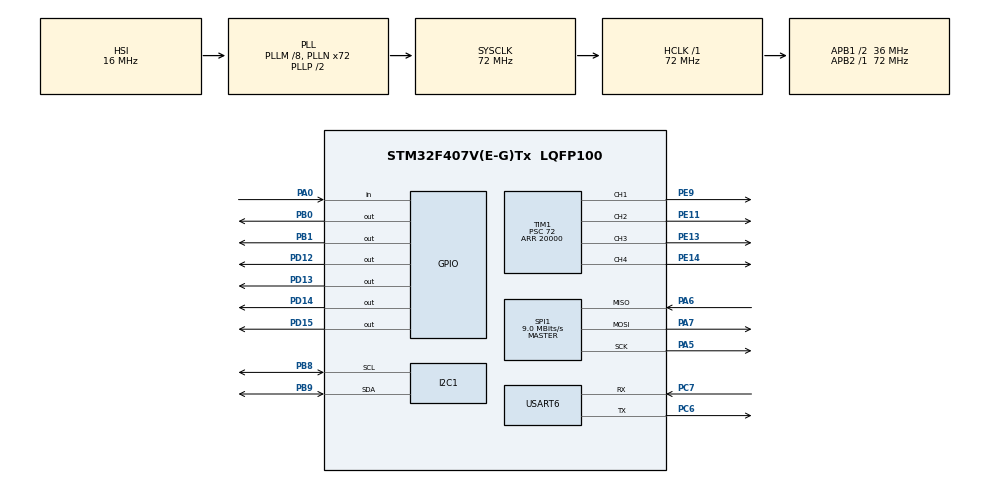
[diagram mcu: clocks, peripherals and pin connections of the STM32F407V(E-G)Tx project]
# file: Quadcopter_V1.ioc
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I2C1.I2C_Mode=I2C_Fast
Mcu.Family=STM32F4
Mcu.Name=STM32F407V(E-G)Tx
Mcu.Package=LQFP100
NVIC.PriorityGroup=NVIC_PRIORITYGROUP_4
NVIC.TIM2_IRQn=true\:0\:0\:false\:false\:true\:true\:true\:true
PA0-WKUP.Signal=GPIO_Input
PA13.Mode=Serial_Wire
PA13.Signal=SYS_JTMS-SWDIO
PA14.Mode=Serial_Wire
PA14.Signal=SYS_JTCK-SWCLK
PA5.Mode=Full_Duplex_Master
PA5.Signal=SPI1_SCK
PA6.Mode=Full_Duplex_Master
PA6.Signal=SPI1_MISO
PA7.Mode=Full_Duplex_Master
PA7.Signal=SPI1_MOSI
PB0.Signal=GPIO_Output
PB1.Signal=GPIO_Output
PB8.Mode=I2C
PB8.Signal=I2C1_SCL
PB9.Mode=I2C
PB9.Signal=I2C1_SDA
PC6.Mode=Asynchronous
PC6.Signal=USART6_TX
PC7.Mode=Asynchronous
PC7.Signal=USART6_RX
PD12.Signal=GPIO_Output
PD13.Signal=GPIO_Output
PD14.Signal=GPIO_Output
PD15.Signal=GPIO_Output
PE11.Signal=S_TIM1_CH2
PE13.Signal=S_TIM1_CH3
PE14.Signal=S_TIM1_CH4
PE9.Signal=S_TIM1_CH1
PH0-OSC_IN.Mode=HSE-External-Oscillator
PH0-OSC_IN.Signal=RCC_OSC_IN
PH1-OSC_OUT.Mode=HSE-External-Oscillator
PH1-OSC_OUT.Signal=RCC_OSC_OUT
ProjectManager.HeapSize=0x200
ProjectManager.StackSize=0x400
ProjectManager.TargetToolchain=STM32CubeIDE
RCC.48MHZClocksFreq_Value=36000000
RCC.AHBFreq_Value=72000000
RCC.APB1CLKDivider=RCC_HCLK_DIV2
RCC.APB1Freq_Value=36000000
RCC.APB1TimFreq_Value=72000000
RCC.APB2Freq_Value=72000000
RCC.APB2TimFreq_Value=72000000
RCC.CortexFreq_Value=72000000
RCC.HCLKFreq_Value=72000000
RCC.HSE_VALUE=25000000
RCC.HSI_VALUE=16000000
RCC.LSE_VALUE=32768
RCC.PLLM=8
RCC.PLLN=72
RCC.SYSCLKFreq_VALUE=72000000
RCC.SYSCLKSource=RCC_SYSCLKSOURCE_PLLCLK
RCC.VCOOutputFreq_Value=144000000
SH.S_TIM1_CH1.0=TIM1_CH1,PWM Generation1 CH1
SH.S_TIM1_CH2.0=TIM1_CH2,PWM Generation2 CH2
SH.S_TIM1_CH3.0=TIM1_CH3,PWM Generation3 CH3
SH.S_TIM1_CH4.0=TIM1_CH4,PWM Generation4 CH4
SPI1.BaudRatePrescaler=SPI_BAUDRATEPRESCALER_8
SPI1.CalculateBaudRate=9.0 MBits/s
SPI1.Direction=SPI_DIRECTION_2LINES
SPI1.Mode=SPI_MODE_MASTER
SPI1.VirtualType=VM_MASTER
TIM1.AutoReloadPreload=TIM_AUTORELOAD_PRELOAD_ENABLE
TIM1.Channel-PWM\ Generation1\ CH1=TIM_CHANNEL_1
TIM1.Channel-PWM\ Generation2\ CH2=TIM_CHANNEL_2
TIM1.Channel-PWM\ Generation3\ CH3=TIM_CHANNEL_3
TIM1.Channel-PWM\ Generation4\ CH4=TIM_CHANNEL_4
TIM1.Period=20000
TIM1.Prescaler=72
TIM1.Pulse-PWM\ Generation1\ CH1=800
TIM1.Pulse-PWM\ Generation2\ CH2=800
TIM1.Pulse-PWM\ Generation3\ CH3=800
TIM1.Pulse-PWM\ Generation4\ CH4=800
TIM2.Period=72000000
TIM2.Prescaler=0
USART6.VirtualMode=VM_ASYNC
VP_TIM1_VS_ClockSourceINT.Mode=Internal
VP_TIM2_VS_ClockSourceINT.Mode=Internal
board=custom

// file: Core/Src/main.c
/* USER CODE BEGIN Header */
/**
 ******************************************************************************
 * @file           : main.c
 * @brief          : Main program body
 ******************************************************************************
 * @attention
 *
 * Copyright (c) 2023 STMicroelectronics.
 * All rights reserved.
 *
 * This software is licensed under terms that can be found in the LICENSE file
 * in the root directory of this software component.
 * If no LICENSE file comes with this software, it is provided AS-IS.
 *
 ******************************************************************************
 */
/* USER CODE END Header */
#include "main.h"
#include "i2c.h"
#include "spi.h"
#include "tim.h"
#include "usart.h"
#include "gpio.h"

/* USER CODE BEGIN Includes */
#include "define.h"
#include "TD_GY86.h"
#include "TD_Madgwick.h"
#include "TD_Brushless.h"
#include "TD_LQR.h"
#include "TD_RF24L01.h"
#include "TD_Lowpass.h"
#include "TD_SMC.h"

/* USER CODE END Includes */

/* USER CODE BEGIN PV */

// Sensor
MPU6050_t MPU6050;
MPU6050_t MPU6050_LP;
// Angle
Euler_t angle;
Euler_t Madgwick;
Euler_t Madgwick_new;
Euler_t Setpoint;
Euler_t Setpoint_pre;
Euler_t Setpoint_dot;
Euler_t Offset = {
    .roll = 0.0129,
    .pitch = 0.0875,
    .yaw = 0,
};
// Quaternions
Quaternion_t Q_est = {1, 0, 0, 0};
// Brushless
Motor_t M1 = {
    .Duty = 0,
    .Duty_base = 1100,
    .Duty_min = 800,
    .Duty_max = 2000,
};
Motor_t M2 = {
    .Duty = 0,
    .Duty_base = 1100,
    .Duty_min = 800,
    .Duty_max = 2000,
};
Motor_t M3 = {
    .Duty = 0,
    .Duty_base = 1100,
    .Duty_min = 800,
    .Duty_max = 2000,
};
Motor_t M4 = {
    .Duty = 0,
    .Duty_base = 1100,
    .Duty_min = 800,
    .Duty_max = 2000,
};
// RF24
Data_t data_Tx;
Data_t data_Rx;
uint64_t TxpipeAddrs = 0xAABBCCDDEE;
uint64_t RxpipeAddrs = 0x1122334455;
// LQR
const float a = 6.3246;
const float b = 2.4522;
double x[6];
double K[4][6] = {{0, 0, 0, 0, 0, 0}, {a, 0, 0, b, 0, 0}, {0, a, 0, 0, b, 0}, {0, 0, 0, 0, 0, 0}};
double u[4];
double T1, T2, T3, T4;
// Enable Run
int enable = 0;
int state = 0;
int run = 0;
uint64_t time;
uint64_t time_pre;
double i_e_roll = 0;
double i_e_pitch = 0;
double Ki = 5;
double LimitI = 0.5;
double aa = 0;
double outI_roll = 0;
double outF_roll = 0;
double outI_pitch = 0;
double outF_pitch = 0;
double m = 0;
double gama = 1.4;
/* USER CODE END PV */

void SystemClock_Config(void);

int main(void)
{

  /* MCU Configuration--------------------------------------------------------*/

  /* Reset of all peripherals, Initializes the Flash interface and the Systick. */
  HAL_Init();

  /* Configure the system clock */
  SystemClock_Config();

  /* Initialize all configured peripherals */
  MX_GPIO_Init();
  MX_I2C1_Init();
  MX_SPI1_Init();
  MX_TIM1_Init();
  MX_TIM2_Init();
  MX_USART6_UART_Init();
  /* USER CODE BEGIN 2 */
  /**
   * Sends data using the NRF24L01.
   *
   * @param huart6 The UART handle.
   * @param GPIOB The GPIO port used for the NRF24L01.
   * @param nrf_CSN_PIN The chip select pin for the NRF24L01.
   * @param nrf_CE_PIN The chip enable pin for the NRF24L01.
   * @param hspi1 The SPI handle.
   * @param TxpipeAddrs The address of the transmitting pipe.
   */
  // Begin setup Rf24
  NRF24_begin(GPIOB, nrf_CSN_PIN, nrf_CE_PIN, hspi1);
  NRF24_stopListening();
  NRF24_openWritingPipe(TxpipeAddrs);
  NRF24_setAutoAck(true);
  NRF24_enableDynamicPayloads();
  NRF24_enableAckPayload();
  /**
   * Initializes the MPU6050 and HMC5883L sensors, and the MS5611 barometer.
   *
   * @param hi2c1 The I2C handle for communication with the sensors.
   */
  // Begin setup GY86
  while (MPU6050_Init(&hi2c1) == 1);
  MPU6050_Bypass(&hi2c1);
  HMC5883L_Init(&hi2c1);
  MPU6050_Master(&hi2c1);
  MPU6050_Addslave(&hi2c1);
  /**
   * Sets up the ESC (Electronic Speed Controller) for a motor using the specified timer.
   *
   * @param htim1 The timer used for the ESC.
   */
  // Begin setup ESC
  setupESC(&htim1);
  /**
   * Starts the timer interrupt for TIM2.
   *
   * @param htim2 A pointer to the TIM2 handle.
   * Simple time is 2ms
   */
  // RUN
  HAL_TIM_Base_Start_IT(&htim2);
  /* USER CODE END 2 */

  /* Infinite loop */
  /* USER CODE BEGIN WHILE */
  while (1)
  {
    /**
     * Sends sensor data over NRF24L01 radio module.
     * The data is sent every 20ms.
     * If there is no response from the receiver for 1 second, the enable flag is set to 0.
     */
    if (HAL_GetTick() - time_pre >= 20)
    {
      // Pack Data_Tx
      data_Tx.a = Madgwick.roll;
      data_Tx.b = Madgwick.pitch;
      data_Tx.c = Madgwick.yaw;
      data_Tx.d = enable;
      // Send
      if (NRF24_write(&data_Tx, 32))
      {
        HAL_GPIO_TogglePin(GPIOD, GPIO_PIN_13); // LED signal receiving RF24
        // Receive
        NRF24_read(&data_Rx, 32);
        // Unpack Data_Rx
        Setpoint.roll = data_Rx.a;
        Setpoint.pitch = data_Rx.b;
        Setpoint.yaw = data_Rx.c;
        enable = data_Rx.d;
        time_pre = HAL_GetTick();
      }
    }
    if (HAL_GetTick() - time_pre > 1000) // If the control signal is lost after 1s, turn off the power
      enable = 0;
    // chạy tăng tốc 1s trước khi chạy điều khiển
    if (enable == 1 && state == 0)
    {
      run = 2;
      time = HAL_GetTick();
    }
    if (enable == 0)
      run = 0;
    if (run == 2)
    {
      if (HAL_GetTick() - time > 1000)
        run = 1;
    }
    gama = (Madgwick.roll/1.57 + 0.7853)*0.52+1.35;

    /* USER CODE END WHILE */

  }
}

void SystemClock_Config(void)
{
  RCC_OscInitTypeDef RCC_OscInitStruct = {0};
  RCC_ClkInitTypeDef RCC_ClkInitStruct = {0};

  /** Configure the main internal regulator output voltage
   */
  __HAL_RCC_PWR_CLK_ENABLE();
  __HAL_PWR_VOLTAGESCALING_CONFIG(PWR_REGULATOR_VOLTAGE_SCALE1);

  /** Initializes the RCC Oscillators according to the specified parameters
   * in the RCC_OscInitTypeDef structure.
   */
  RCC_OscInitStruct.OscillatorType = RCC_OSCILLATORTYPE_HSI;
  RCC_OscInitStruct.HSIState = RCC_HSI_ON;
  RCC_OscInitStruct.HSICalibrationValue = RCC_HSICALIBRATION_DEFAULT;
  RCC_OscInitStruct.PLL.PLLState = RCC_PLL_ON;
  RCC_OscInitStruct.PLL.PLLSource = RCC_PLLSOURCE_HSI;
  RCC_OscInitStruct.PLL.PLLM = 8;
  RCC_OscInitStruct.PLL.PLLN = 72;
  RCC_OscInitStruct.PLL.PLLP = RCC_PLLP_DIV2;
  RCC_OscInitStruct.PLL.PLLQ = 4;
  if (HAL_RCC_OscConfig(&RCC_OscInitStruct) != HAL_OK)
  {
    Error_Handler();
  }

  /** Initializes the CPU, AHB and APB buses clocks
   */
  RCC_ClkInitStruct.ClockType = RCC_CLOCKTYPE_HCLK | RCC_CLOCKTYPE_SYSCLK | RCC_CLOCKTYPE_PCLK1 | RCC_CLOCKTYPE_PCLK2;
  RCC_ClkInitStruct.SYSCLKSource = RCC_SYSCLKSOURCE_PLLCLK;
  RCC_ClkInitStruct.AHBCLKDivider = RCC_SYSCLK_DIV1;
  RCC_ClkInitStruct.APB1CLKDivider = RCC_HCLK_DIV2;
  RCC_ClkInitStruct.APB2CLKDivider = RCC_HCLK_DIV1;

  if (HAL_RCC_ClockConfig(&RCC_ClkInitStruct, FLASH_LATENCY_2) != HAL_OK)
  {
    Error_Handler();
  }
}

/* USER CODE BEGIN 4 */
void quaternion_to_euler(Quaternion_t q, Euler_t *angles)
{
	// Calculate Euler angles
	double sinr_cosp = 2.0 * (q.q4 * q.q1 + q.q2 * q.q3);
	double cosr_cosp = 1.0 - 2.0 * (q.q1 * q.q1 + q.q2 * q.q2);
	angles->roll = atan2(sinr_cosp, cosr_cosp);

	double sinp = 2.0 * (q.q4 * q.q2 - q.q3 * q.q1);
	if (fabs(sinp) >= 1.0) {
	    angles->pitch = copysign(M_PI / 2.0, sinp);
	} else {
	    angles->pitch = asin(sinp);
	}

	double siny_cosp = 2.0 * (q.q4 * q.q3 + q.q1 * q.q2);
	double cosy_cosp = 1.0 - 2.0 * (q.q2 * q.q2 + q.q3 * q.q3);
	angles->yaw = atan2(siny_cosp, cosy_cosp);
}
// 2. Bo dieu khien LQR
void LQR_Control()
{
  /**
   * Computes the control signals for a quadcopter based on the difference between the setpoint and the current orientation.
   * The control signals are then used to adjust the duty cycle of the motors to achieve the desired orientation.
   */
  // r()
  x[0] = Setpoint.roll - Madgwick.roll;
  x[1] = Setpoint.pitch - Madgwick.pitch;
  x[2] = 0;
  x[3] = Setpoint_dot.roll - MPU6050.Gx;
  x[4] = Setpoint_dot.pitch - MPU6050.Gy;
  x[5] = 0;
  // Tích phân khâu I để bù trừ phần chưa kiểm soát
  if (run == 1)
  {
    i_e_roll += x[0];
    i_e_pitch += x[1];
  }
  else
  {
    i_e_roll = 0;
    i_e_pitch = 0;
  }
  if (Setpoint.roll != Setpoint_pre.roll)
  {
    i_e_roll = 0;
    i_e_pitch = 0;
    Setpoint_pre = Setpoint;
  }
  //
  aa = LimitI / (Ki * DELTA_T);
  if (i_e_roll > aa)
    i_e_roll = aa;
  if (i_e_roll < -aa)
    i_e_roll = -aa;
  if (i_e_pitch > aa)
    i_e_pitch = aa;
  if (i_e_pitch < -aa)
    i_e_pitch = -aa;
  //
  outI_roll = Ki * i_e_roll * DELTA_T;
  outF_roll = tan(Setpoint.roll) * 9.81 * m;
  outI_pitch = Ki * i_e_pitch * DELTA_T;
  outF_pitch = tan(Setpoint.pitch) * 9.81 * m;
  // LQR
  compute_control(x, K, u);
  u[1] += outI_roll;
  u[2] += outI_pitch;

  // Limit
  if (u[0] > 25)
    u[0] = 25;
  if (u[1] > 11.5)
    u[1] = 11.5;
  if (u[1] < -11.5)
    u[1] = -11.5;
  if (u[2] > 11.5)
    u[2] = 11.5;
  if (u[2] < -11.5)
    u[2] = -11.5;
  if (u[3] > 11.5)
    u[3] = 11.5;
  if (u[3] < -11.5)
    u[3] = -11.5;
  u[1] = u[1] * 0.5;
  u[2] = u[2] * 0.5;
  u[3] = u[3] * 0.1;
  // U -> T
  T1 = u[0] * 0.25 + u[3] * 0.25 - u[2] * 0.5; // T = Khối lượng/4 + độ cao + yaw - pitch;
  T2 = u[0] * 0.25 - u[3] * 0.25 + u[1] * 0.5; // T = Khối lượng/4 + độ cao - yaw + roll;
  T3 = u[0] * 0.25 + u[3] * 0.25 + u[2] * 0.5; // T = Khối lượng/4 + độ cao + yaw + pitch;
  T4 = u[0] * 0.25 - u[3] * 0.25 - u[1] * 0.5; // T = Khối lượng/4 + độ cao - yaw - roll;
  // T -> Duty
  M1.Duty = T1 / 11.5 * 1000;
  M2.Duty = T2 / 11.5 * 1000;
  M3.Duty = T3 / 11.5 * 1000;
  M4.Duty = T4 / 11.5 * 1000;
}
// 3. Read sensor and calculate value
void read_Sensor()
{
  /**
   * Reads data from the MPU6050 and MS5611 sensors, applies low-pass filtering and calculates the orientation and altitude.
   */
  // Read Data
  HAL_GPIO_TogglePin(GPIOD, GPIO_PIN_12); // LED indicates the sensor is read
  MPU6050_Read_All(&hi2c1, &MPU6050);
  // Filter
  Lowpass4MPU(MPU6050, &MPU6050_LP);
  Madgwick_imu(&MPU6050_LP, &Q_est);
  // Caculator
  MPU2Angle(MPU6050_LP, &angle);
  Quat2Angle(Q_est, &Madgwick);
  quaternion_to_euler(Q_est, &Madgwick_new);
  OffsetAngle(&Madgwick, Offset);
  Madgwick.pitch = Madgwick.pitch*gama;
}
// 4. Duration of 2ms cycle will be executed
void HAL_TIM_PeriodElapsedCallback(TIM_HandleTypeDef *htim)
{
  if (htim->Instance == htim2.Instance)
  {
    read_Sensor();
    LQR_Control();
    // Enable output
    if (run == 1)
    {
      ESC_Control(&htim1, M1.Duty + M1.Duty_base,
                  M2.Duty + M2.Duty_base,
                  M3.Duty + M3.Duty_base,
                  M4.Duty + M4.Duty_base);
      HAL_GPIO_WritePin(GPIOD, GPIO_PIN_15, 1);
      state = 1;
    }
    else if (run == 2)
    {
      ESC_Control(&htim1, M1.Duty_base,
                  M2.Duty_base,
                  M3.Duty_base,
                  M4.Duty_base);
      HAL_GPIO_WritePin(GPIOD, GPIO_PIN_15, 1);
      state = 1;
    }
    else
    {
      ESC_Control(&htim1, M1.Duty_min,
                  M2.Duty_min,
                  M3.Duty_min,
                  M4.Duty_min);
      HAL_GPIO_WritePin(GPIOD, GPIO_PIN_15, 0);
      state = 0;
    }
  }
}
/* USER CODE END 4 */

void Error_Handler(void)
{
  __disable_irq();
  while (1)
  {
  }
}
